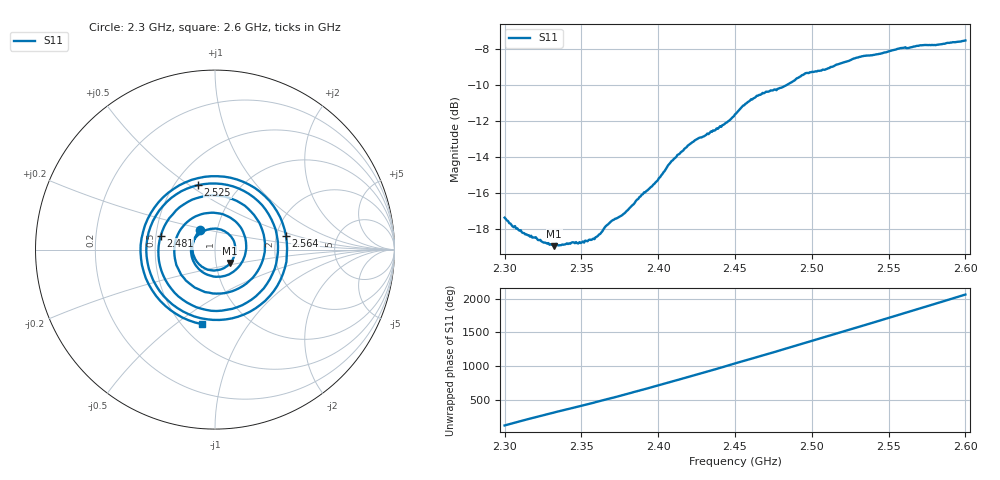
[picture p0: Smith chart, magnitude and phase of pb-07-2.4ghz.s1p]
! NanoVNA-App
! Date: 2026-05-22 17:27:46
! Start: 2.3GHz Stop: 2.6GHz Points: 401
! S-Parameter data: F S11
# Hz S RI R 50
!  Frequency  S11_Real  S11_Imag
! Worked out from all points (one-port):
!   401 points, 2.3 GHz to 2.6 GHz, reference 50 ohm
!   lowest |S11| = -19.0 dB at 2.332 GHz (marker M1), VSWR 1.25, Z = 58.4 - j8.89 ohm
!   |S11| at or under -10 dB: start of sweep to 2.483 GHz
!   S11 on the Smith chart (normalised r, x): 2.3 GHz: 0.83, +0.18; 2.481 GHz: 0.53, +0.09; 2.525 GHz: 0.65, +0.54; 2.564 GHz: 2.26, +0.41; 2.6 GHz: 0.62, -0.63
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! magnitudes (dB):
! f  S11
! 2.3 GHz  -17.4
! 2.304 GHz  -17.8
! 2.313 GHz  -18.3
! 2.326 GHz  -18.8
! 2.332 GHz  -19.0
! 2.337 GHz  -18.9
! 2.349 GHz  -18.8
! 2.358 GHz  -18.6
! 2.361 GHz  -18.3
! 2.369 GHz  -17.6
! 2.375 GHz  -17.3
! 2.398 GHz  -15.4
! 2.407 GHz  -14.4
! 2.413 GHz  -13.9
! 2.423 GHz  -13.1
! 2.44 GHz  -12.3
! 2.45 GHz  -11.6
! 2.457 GHz  -11.0
! 2.464 GHz  -10.6
! 2.481 GHz  -10.1
! 2.487 GHz  -9.8
! 2.496 GHz  -9.3
! 2.51 GHz  -9.1
! 2.525 GHz  -8.6
! 2.533 GHz  -8.4
! 2.562 GHz  -7.9
! 2.564 GHz  -7.9
! 2.6 GHz  -7.5
